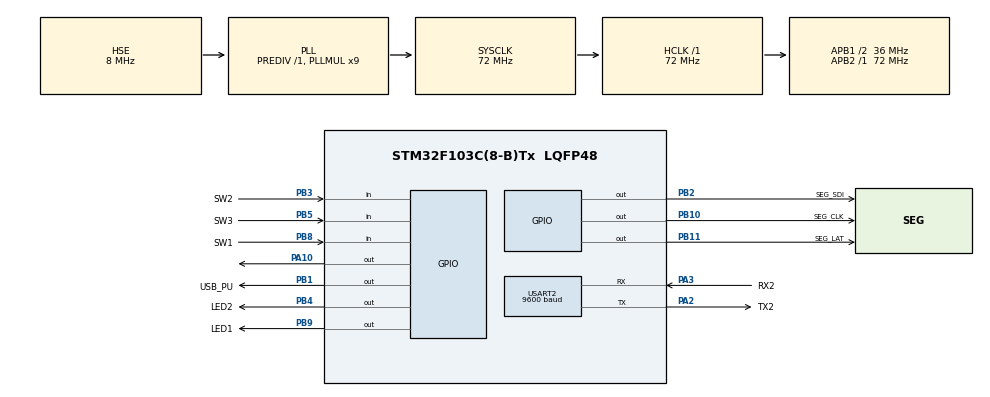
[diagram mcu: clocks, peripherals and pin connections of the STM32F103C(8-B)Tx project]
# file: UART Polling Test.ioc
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Mcu.Family=STM32F1
Mcu.Name=STM32F103C(8-B)Tx
Mcu.Package=LQFP48
NVIC.PriorityGroup=NVIC_PRIORITYGROUP_4
PA0-WKUP.GPIO_Label=POT1
PA0-WKUP.Signal=ADCx_IN0
PA1.GPIO_Label=POT2
PA1.Signal=ADCx_IN1
PA10.PinState=GPIO_PIN_SET
PA10.Signal=GPIO_Output
PA11.Signal=USB_DM
PA12.Signal=USB_DP
PA13.GPIO_Label=SWDIO
PA13.Mode=Serial_Wire
PA13.Signal=SYS_JTMS-SWDIO
PA14.GPIO_Label=SWCLK
PA14.Mode=Serial_Wire
PA14.Signal=SYS_JTCK-SWCLK
PA15.GPIO_Label=BUZ
PA15.Signal=S_TIM2_CH1_ETR
PA2.GPIO_Label=TX2
PA2.Mode=Asynchronous
PA2.Signal=USART2_TX
PA3.GPIO_Label=RX2
PA3.Mode=Asynchronous
PA3.Signal=USART2_RX
PA4.GPIO_Label=POT3
PA4.Signal=ADCx_IN4
PA5.GPIO_Label=TEMP
PA5.Signal=ADCx_IN5
PA6.GPIO_Label=PWM_R
PA6.Signal=S_TIM3_CH1
PA7.GPIO_Label=PWM_G
PA7.Signal=S_TIM3_CH2
PA8.GPIO_Label=PWM_P
PA8.Signal=S_TIM1_CH1
PB0.GPIO_Label=PWM_B
PB0.Signal=S_TIM3_CH3
PB1.GPIO_Label=USB_PU
PB1.GPIO_Speed=GPIO_SPEED_FREQ_HIGH
PB1.PinState=GPIO_PIN_RESET
PB1.Signal=GPIO_Output
PB10.GPIO_Label=SEG_CLK
PB10.GPIO_ModeDefaultOutputPP=GPIO_MODE_OUTPUT_OD
PB10.GPIO_PuPd=GPIO_NOPULL
PB10.GPIO_Speed=GPIO_SPEED_FREQ_HIGH
PB10.PinState=GPIO_PIN_RESET
PB10.Signal=GPIO_Output
PB11.GPIO_Label=SEG_LAT
PB11.GPIO_ModeDefaultOutputPP=GPIO_MODE_OUTPUT_OD
PB11.GPIO_PuPd=GPIO_NOPULL
PB11.GPIO_Speed=GPIO_SPEED_FREQ_HIGH
PB11.PinState=GPIO_PIN_RESET
PB11.Signal=GPIO_Output
PB13.GPIO_Label=PWM_N
PB13.Signal=TIM1_CH1N
PB2.GPIO_Label=SEG_SDI
PB2.GPIO_ModeDefaultOutputPP=GPIO_MODE_OUTPUT_OD
PB2.GPIO_PuPd=GPIO_NOPULL
PB2.GPIO_Speed=GPIO_SPEED_FREQ_HIGH
PB2.PinState=GPIO_PIN_RESET
PB2.Signal=GPIO_Output
PB3.GPIO_Label=SW2
PB3.Signal=GPIO_Input
PB4.GPIO_Label=LED2
PB4.GPIO_Speed=GPIO_SPEED_FREQ_HIGH
PB4.PinState=GPIO_PIN_RESET
PB4.Signal=GPIO_Output
PB5.GPIO_Label=SW3
PB5.Signal=GPIO_Input
PB6.GPIO_Label=ROT_A
PB6.Signal=S_TIM4_CH1
PB7.GPIO_Label=ROT_B
PB7.Signal=S_TIM4_CH2
PB8.GPIO_Label=SW1
PB8.Signal=GPIO_Input
PB9.GPIO_Label=LED1
PB9.GPIO_Speed=GPIO_SPEED_FREQ_HIGH
PB9.PinState=GPIO_PIN_RESET
PB9.Signal=GPIO_Output
PD0-OSC_IN.GPIO_Label=OSC_IN
PD0-OSC_IN.Mode=HSE-External-Oscillator
PD0-OSC_IN.Signal=RCC_OSC_IN
PD1-OSC_OUT.GPIO_Label=OSC_OUT
PD1-OSC_OUT.Mode=HSE-External-Oscillator
PD1-OSC_OUT.Signal=RCC_OSC_OUT
ProjectManager.HeapSize=0x200
ProjectManager.StackSize=0x400
ProjectManager.TargetToolchain=MDK-ARM V5.27
RCC.ADCPresc=RCC_ADCPCLK2_DIV6
RCC.AHBFreq_Value=72000000
RCC.APB1CLKDivider=RCC_HCLK_DIV2
RCC.APB1Freq_Value=36000000
RCC.APB1TimFreq_Value=72000000
RCC.APB2Freq_Value=72000000
RCC.APB2TimFreq_Value=72000000
RCC.HCLKFreq_Value=72000000
RCC.PLLMUL=RCC_PLL_MUL9
RCC.PLLSourceVirtual=RCC_PLLSOURCE_HSE
RCC.SYSCLKFreq_VALUE=72000000
RCC.SYSCLKSource=RCC_SYSCLKSOURCE_PLLCLK
RCC.USBFreq_Value=48000000
RCC.USBPrescaler=RCC_USBCLKSOURCE_PLL_DIV1_5
SH.ADCx_IN0.0=ADC1_IN0
SH.ADCx_IN1.0=ADC1_IN1
SH.ADCx_IN4.0=ADC1_IN4
SH.ADCx_IN5.0=ADC1_IN5
SH.S_TIM1_CH1.0=TIM1_CH1
SH.S_TIM2_CH1_ETR.0=TIM2_CH1
SH.S_TIM3_CH1.0=TIM3_CH1
SH.S_TIM3_CH2.0=TIM3_CH2
SH.S_TIM3_CH3.0=TIM3_CH3
SH.S_TIM4_CH1.0=TIM4_CH1
SH.S_TIM4_CH2.0=TIM4_CH2
USART2.BaudRate=9600
USART2.VirtualMode=VM_ASYNC
board=custom

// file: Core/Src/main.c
/* USER CODE BEGIN Header */
/**
  ******************************************************************************
  * @file           : main.c
  * @brief          : Main program body
  ******************************************************************************
  * @attention
  *
  * Copyright (c) 2022 STMicroelectronics.
  * All rights reserved.
  *
  * This software is licensed under terms that can be found in the LICENSE file
  * in the root directory of this software component.
  * If no LICENSE file comes with this software, it is provided AS-IS.
  *
  ******************************************************************************
  */
/* USER CODE END Header */
#include "main.h"
#include "usart.h"
#include "gpio.h"

/* USER CODE BEGIN Includes */
#include "string.h"
#include "stdio.h"
#include "stdlib.h"
/* USER CODE END Includes */

void SystemClock_Config(void);

/* USER CODE BEGIN 0 */
void printGreeting()
{
	#define WELCOME_MSG ("Welcome to the console\r\n")
	#define MAIN_MENU ("Select your option:\r\n\t1.Toggle LED1\r\n\t2.Toggle LED2\r\n\t3.Read SW1\r\n\t4.Read SW2\r\n\t5.Reprint the message\r\n")

	HAL_UART_Transmit(&huart2, (uint8_t*)"\033[0;0H", strlen("\033[0;0H"), HAL_MAX_DELAY);
	HAL_UART_Transmit(&huart2, (uint8_t*)"\033[2J", strlen("\033[2J"), HAL_MAX_DELAY);
	HAL_UART_Transmit(&huart2, (uint8_t*)WELCOME_MSG, strlen(WELCOME_MSG), HAL_MAX_DELAY);
	HAL_UART_Transmit(&huart2, (uint8_t*)MAIN_MENU, strlen(MAIN_MENU), HAL_MAX_DELAY);
}

uint8_t readInput()
{
	#define PROMPT ("\r\n>")

	char readBuf[1];

	HAL_UART_Transmit(&huart2, (uint8_t*)PROMPT, strlen(PROMPT), HAL_MAX_DELAY);
	HAL_UART_Receive(&huart2, (uint8_t*)readBuf, 1, HAL_MAX_DELAY);
	return atoi(readBuf);
}

uint8_t processInput(uint8_t opt)
{
	char msg[30];

	if(!opt || opt > 5)
	return 0;

	sprintf(msg, "%d", opt);
	HAL_UART_Transmit(&huart2, (uint8_t*)msg, strlen(msg), HAL_MAX_DELAY);

	switch(opt)
	{
		case 1:
			HAL_GPIO_TogglePin(LED1_GPIO_Port, LED1_Pin);
			break;
		case 2:
			HAL_GPIO_TogglePin(LED2_GPIO_Port, LED2_Pin);
			break;
		case 3:
			sprintf(msg, "\r\nUSER BUTTON status: %s",
			HAL_GPIO_ReadPin(SW1_GPIO_Port, SW1_Pin) == GPIO_PIN_RESET ? "PRESSED" : "RELEASED");
			HAL_UART_Transmit(&huart2, (uint8_t*)msg, strlen(msg), HAL_MAX_DELAY);
			break;
		case 4:
			sprintf(msg, "\r\nUSER BUTTON status: %s",
			HAL_GPIO_ReadPin(SW2_GPIO_Port, SW2_Pin) == GPIO_PIN_RESET ? "PRESSED" : "RELEASED");
			HAL_UART_Transmit(&huart2, (uint8_t*)msg, strlen(msg), HAL_MAX_DELAY);
			break;
		case 5:
			return 2;
	}

	return 1;
}
/* USER CODE END 0 */

int main(void)
{
  /* USER CODE BEGIN 1 */
	uint8_t opt = 0;
  /* USER CODE END 1 */

  /* MCU Configuration--------------------------------------------------------*/

  /* Reset of all peripherals, Initializes the Flash interface and the Systick. */
  HAL_Init();

  /* Configure the system clock */
  SystemClock_Config();

  /* Initialize all configured peripherals */
  MX_GPIO_Init();
  MX_USART2_UART_Init();
  /* USER CODE BEGIN 2 */

	printGreeting();

  /* USER CODE END 2 */

  /* Infinite loop */
  while (1)
  {

    /* USER CODE BEGIN 3 */
		opt = readInput();
		processInput(opt);
		if(opt == 5)
			printGreeting();

  }
  /* USER CODE END 3 */
}

void SystemClock_Config(void)
{
  RCC_OscInitTypeDef RCC_OscInitStruct = {0};
  RCC_ClkInitTypeDef RCC_ClkInitStruct = {0};

  /** Initializes the RCC Oscillators according to the specified parameters
  * in the RCC_OscInitTypeDef structure.
  */
  RCC_OscInitStruct.OscillatorType = RCC_OSCILLATORTYPE_HSE;
  RCC_OscInitStruct.HSEState = RCC_HSE_ON;
  RCC_OscInitStruct.HSEPredivValue = RCC_HSE_PREDIV_DIV1;
  RCC_OscInitStruct.HSIState = RCC_HSI_ON;
  RCC_OscInitStruct.PLL.PLLState = RCC_PLL_ON;
  RCC_OscInitStruct.PLL.PLLSource = RCC_PLLSOURCE_HSE;
  RCC_OscInitStruct.PLL.PLLMUL = RCC_PLL_MUL9;
  if (HAL_RCC_OscConfig(&RCC_OscInitStruct) != HAL_OK)
  {
    Error_Handler();
  }
  /** Initializes the CPU, AHB and APB buses clocks
  */
  RCC_ClkInitStruct.ClockType = RCC_CLOCKTYPE_HCLK|RCC_CLOCKTYPE_SYSCLK
                              |RCC_CLOCKTYPE_PCLK1|RCC_CLOCKTYPE_PCLK2;
  RCC_ClkInitStruct.SYSCLKSource = RCC_SYSCLKSOURCE_PLLCLK;
  RCC_ClkInitStruct.AHBCLKDivider = RCC_SYSCLK_DIV1;
  RCC_ClkInitStruct.APB1CLKDivider = RCC_HCLK_DIV2;
  RCC_ClkInitStruct.APB2CLKDivider = RCC_HCLK_DIV1;

  if (HAL_RCC_ClockConfig(&RCC_ClkInitStruct, FLASH_LATENCY_2) != HAL_OK)
  {
    Error_Handler();
  }
}

void Error_Handler(void)
{
  __disable_irq();
  while (1)
  {
  }
}
